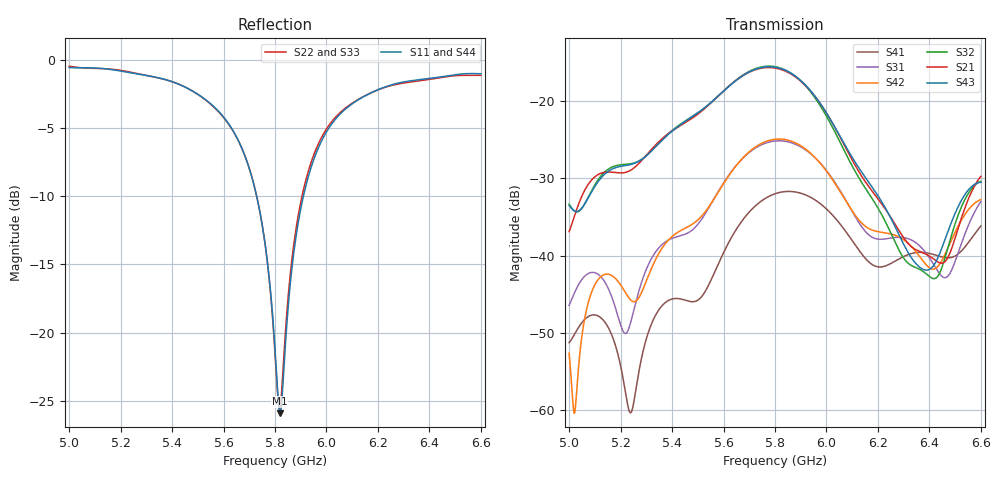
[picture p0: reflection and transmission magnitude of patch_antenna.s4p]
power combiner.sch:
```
<QucsStudio Schematic 5.9>
<Properties>
View=-76.896,-171.311,1534.39,873.206,0.811044,60,94
Grid=10,10,1
DataSet=*.dat
DataDisplay=*.dpl
OpenDisplay=1
showFrame=0
FrameText0=Title \n @PATH@@FILE@
FrameText1=Drawn By:
FrameText2=Date: @DATE@
FrameText3=Revision:
</Properties>
<Symbol>
</Symbol>
<Components>
GND * 1 160 420 0 0 3
Pac P1 1 200 420 -26 18 3 "1"1"50 Ω"1"0 dBm"1"5.8 GHz"1"26.85"0"con_2"0
MLIN MS3 1 300 420 -26 15 0 "RO4350B"1"W50"1"L50"1"26.85"0
MLIN MS1 1 450 320 -26 15 0 "RO4350B"1"W70"1"L70"1"26.85"0
MLIN MS2 1 450 530 -26 15 0 "RO4350B"1"W70"1"L70"1"26.85"0
R R1 1 550 430 -71 -18 3 "100 Ω"1"26.85"0"US"0"SMD0603"0
SUBST RO4350B 1 150 190 -30 24 0 "3.66"1"1.2mm"1"35µm"1"0.0037"1"1.72e-08"1"0µm"1"Metal"0"Hammerstad"0"Kirschning"0
Eqn E70 1 430 180 0 8 0 "W70=1.41mm="1"L70=7.79mm="1"yes"0
Eqn E50 1 570 180 0 8 0 "L50=5 mm="1"W50=2.61 mm="1"yes"0
.SP SP1 1 260 190 0 9 0 "lin"1"4.5 GHz"1"7 GHz"1"100"1"no"0"1"0"2"0"none"0
MLIN MS12 1 640 320 -26 15 0 "RO4350B"1"W50"1"L50"1"26.85"0
MLIN MS13 1 640 530 -26 15 0 "RO4350B"1"W50"1"L50"1"26.85"0
MLIN MS6 1 780 150 -26 15 0 "RO4350B"1"W70"1"L70"1"26.85"0
MLIN MS7 1 780 360 -26 15 0 "RO4350B"1"W70"1"L70"1"26.85"0
R R2 1 880 260 -71 -18 3 "100 Ω"1"26.85"0"US"0"SMD0603"0
MLIN MS14 1 970 150 -26 15 0 "RO4350B"1"W50"1"L50"1"26.85"0
MLIN MS15 1 970 360 -26 15 0 "RO4350B"1"W50"1"L50"1"26.85"0
MLIN MS10 1 780 480 -26 15 0 "RO4350B"1"W70"1"L70"1"26.85"0
MLIN MS11 1 780 690 -26 15 0 "RO4350B"1"W70"1"L70"1"26.85"0
R R3 1 880 590 -71 -18 3 "100 Ω"1"26.85"0"US"0"SMD0603"0
MLIN MS16 1 970 480 -26 15 0 "RO4350B"1"W50"1"L50"1"26.85"0
MLIN MS17 1 980 690 -26 15 0 "RO4350B"1"W50"1"L50"1"26.85"0
GND * 1 1200 470 0 0 0
SPfile X1 1 1200 410 -26 -70 0 "C:/Users/supra/OneDrive/Desktop/patch_antenna.s4p"0"4"0"polar"0"linear"0"short"0"none"0"block"0"SOT23"0
</Components>
<Wires>
160 420 170 420
230 420 270 420
330 420 410 420
410 320 410 420
410 320 420 320
410 530 420 530
480 320 550 320
480 530 550 530
410 420 410 530
550 460 550 530
550 320 550 400
550 320 610 320
550 530 610 530
670 530 740 530
670 320 740 320
740 150 740 320
740 150 750 150
740 360 750 360
740 320 740 360
810 360 880 360
880 290 880 360
810 150 880 150
880 150 880 230
880 360 940 360
880 150 940 150
740 480 740 530
740 480 750 480
810 690 880 690
880 620 880 690
810 480 880 480
880 480 880 560
880 480 940 480
740 690 750 690
740 530 740 690
880 690 950 690
1000 480 1170 480
1170 440 1170 480
1000 150 1170 150
1170 150 1170 380
1000 360 1230 360
1230 360 1230 380
1010 690 1230 690
1230 440 1230 690
</Wires>
<Diagrams>
</Diagrams>
<Paintings>
</Paintings>
```
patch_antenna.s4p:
! TOUCHSTONE file generated by CST MICROWAVE STUDIO
! Date and time: Thu Sep  3 12:05:54 2026
! Project name: patch_antenna.cst
! Parameters = {InL=5.33; InW=0.26; ML=6.125; MW=2.6; Mt=0.035; PL=12.75; PW=20; SH=1.2; SL=25; SW=30; k=5.09}
! Header version: 2024
! Port assignment regex: !\s*Touchstone port\s*([0-9]+)\s*=\s*(CST MWS port|CST DES external port|CST DES block port)\s*(.+)\s* \(\"(.*)\"\)(\s*mode\s*([0-9]+))?.*
! Touchstone port assignment:
! Touchstone port 1 = CST MWS port 1 ("")
! Touchstone port 2 = CST MWS port 2 ("")
! Touchstone port 3 = CST MWS port 3 ("")
! Touchstone port 4 = CST MWS port 4 ("")
# GHz S RI R 50
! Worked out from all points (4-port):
!   1001 points, 5 GHz to 6.6 GHz, reference 50 ohm
!   strongest paths, dB at 5 GHz, 5.4 GHz, 5.8 GHz, 6.2 GHz, 6.6 GHz:
!     S43: -33.5, -23.9, -15.6, -32.3, -30.5
!     S21: -36.9, -23.9, -15.7, -32.7, -29.8
!     S32: -33.3, -23.8, -15.6, -33.9, -30.4
!     S42: -52.6, -37.5, -25.0, -36.9, -32.8
!     S31: -46.4, -37.8, -25.2, -37.9, -33.0
!     S41: -51.3, -45.6, -32.0, -41.5, -36.2
!   lowest |S11| = -25.9 dB at 5.819 GHz (marker M1), VSWR 1.11, Z = 48.2 + j4.63 ohm
!   |S11| at or under -10 dB: 5.729 GHz to 5.91 GHz (181.7 MHz wide, 3.12 % of centre)
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5  0.7052 -0.617  -0.0196 0.00814  0.000683 -0.00221  0.00128 0.0016
   -0.0143 0.000522  0.7067 -0.6314  -0.0195 0.00915  -0.00217 -0.00168
   -0.00396 0.00265  -0.0195 0.00915  0.7067 -0.6314  -0.0159 0.00678
   0.00255 -0.000983  0.000653 -0.00224  -0.0195 0.00821  0.7048 -0.6246
5.8192  -0.0162 0.048  0.1255 -0.1029  -0.0414 0.0385  0.0156 -0.0207
        0.1235 -0.1024  -0.0086 0.0522  0.1222 -0.1087  -0.0396 0.0392
        -0.0396 0.0385  0.1222 -0.1087  -0.00878 0.0522  0.1233 -0.104
        0.0154 -0.0205  -0.0412 0.0389  0.125 -0.104  -0.0121 0.0442
6.6  -0.4146 -0.786  0.0164 -0.0241  -0.00893 0.0198  -0.00226 -0.017
     0.0238 -0.0221  -0.4163 -0.7721  0.0174 -0.0248  -0.0105 0.0207
     -0.0143 0.0171  0.0173 -0.0247  -0.4163 -0.772  0.0193 -0.0243
     0.000207 -0.0155  -0.00915 0.0211  0.0175 -0.0241  -0.4228 -0.7792
